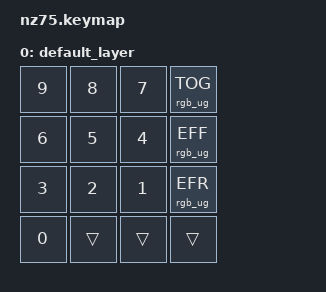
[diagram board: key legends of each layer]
/*
 * Copyright (c) 2022 The ZMK Contributors
 * SPDX-License-Identifier: MIT
 */

#include <behaviors.dtsi>
#include <dt-bindings/zmk/matrix_transform.h>
#include <dt-bindings/zmk/keys.h>
#include <dt-bindings/zmk/rgb.h>

/ {
	default_transform: keymap_transform {
		compatible = "zmk,matrix-transform";
		rows = <1>;
		columns = <16>;
		map = <
			RC(0, 4) RC(0, 5) RC(0, 6) RC(0, 7)
			RC(0, 0) RC(0, 1) RC(0, 2) RC(0, 3)
			RC(0,12) RC(0,13) RC(0,14) RC(0,15)
			RC(0, 8) RC(0, 9) RC(0,10) RC(0,11)
		>;
	};

	keymap {
		compatible = "zmk,keymap";

		default_layer {
			bindings = <
				&kp N9 &kp N8 &kp N7 &rgb_ug RGB_TOG
				&kp N6 &kp N5 &kp N4 &rgb_ug RGB_EFF
				&kp N3 &kp N2 &kp N1 &rgb_ug RGB_EFR
				&kp N0 &trans &trans &trans
			>;
		};
	};
};
